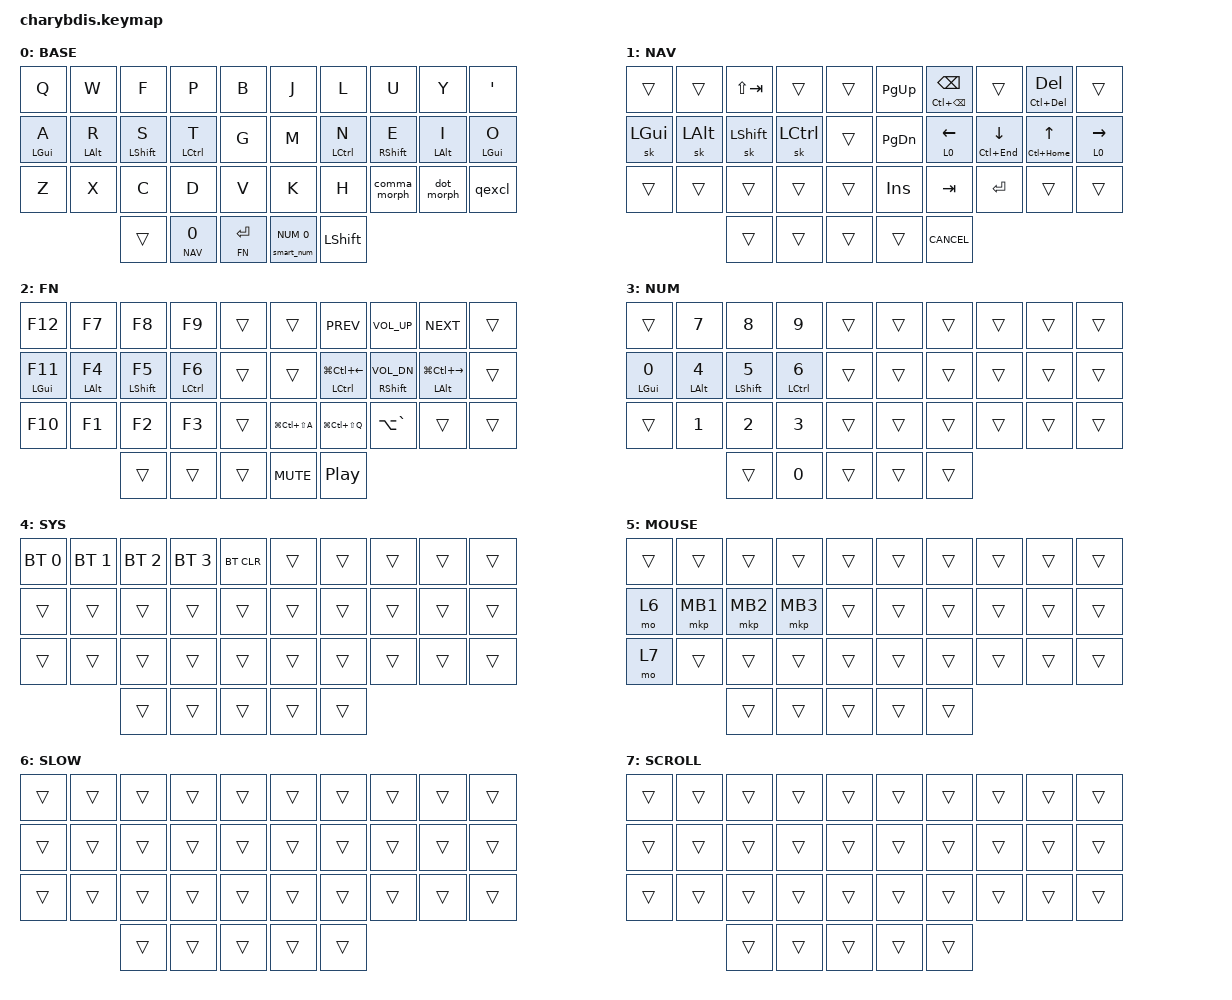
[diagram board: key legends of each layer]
#include <behaviors.dtsi>
#include <behaviors/num_word.dtsi>
#include <dt-bindings/zmk/bt.h>
#include <dt-bindings/zmk/keys.h>
#include <dt-bindings/zmk/mouse.h>
#include <dt-bindings/zmk/outputs.h>
#include <behaviors/mouse_keys.dtsi>
#include <dt-bindings/zmk/ext_power.h>

#include "zmk-helpers/helper.h"
#include "zmk-helpers/key-labels/36.h"                                      // Source key-labels.
#define KEYS_L LT0 LT1 LT2 LT3 LT4 LM0 LM1 LM2 LM3 LM4 LB0 LB1 LB2 LB3 LB4  // Left-hand keys.
#define KEYS_R RT0 RT1 RT2 RT3 RT4 RM0 RM1 RM2 RM3 RM4 RB0 RB1 RB2 RB3 RB4  // Right-hand keys.
#define THUMBS LH2 LH1 LH0 RH0 RH1 RH2                                      // Thumb keys.

#define DEF     0
#define NAV     1
#define FN      2
#define NUM     3
#define SYS     4

#define MOUSE   5
#define SLOW    6
#define SCROLL  7

#define XXX &none
#define ___ &trans

#define QUICK_TAP_MS 175

&sk {
  release-after-ms = <900>;
  quick-release;
};

&sl { // Allow sticky mods to chord across sticky layers.
  ignore-modifiers;
};

&lt {
  flavor = "balanced";
  tapping-term-ms = <200>;
  quick-tap-ms = <QUICK_TAP_MS>;
};


#define MAKE_HRM(NAME, HOLD, TAP, TRIGGER_POS)                                 \
  ZMK_HOLD_TAP(NAME, bindings = <HOLD>, <TAP>; flavor = "balanced";            \
               tapping-term-ms = <280>; quick-tap-ms = <QUICK_TAP_MS>;         \
               require-prior-idle-ms = <150>; hold-trigger-on-release;         \
               hold-trigger-key-positions = <TRIGGER_POS>;)

MAKE_HRM(hml, &kp, &kp, KEYS_R THUMBS) // Left-hand HRMs.
MAKE_HRM(hmr, &kp, &kp, KEYS_L THUMBS) // Right-hand HRMs.

// Hack: Make HRM combos tap-only (cf, ZMK issue #544).
#define ZMK_COMBO_8(NAME, TAP, POS, LAYERS, COMBO_MS, IDLE_MS, HOLD, SIDE)     \
  MAKE_HRM(hm_combo_##NAME, &kp, TAP, SIDE THUMBS)                             \
  ZMK_COMBO_6(NAME, &hm_combo_##NAME HOLD 0, POS, LAYERS, COMBO_MS, IDLE_MS)


ZMK_MOD_MORPH(mm_lbracket,
    bindings = <&kp LPRN>, <&kp LBKT>;
    mods = <(MOD_LSFT)>;
)

ZMK_MOD_MORPH(mm_rbracket,
    bindings = <&kp RPRN>, <&kp RBKT>;
    mods = <(MOD_LSFT)>;
)

ZMK_MOD_MORPH(mm_del_num,
    bindings = <&lt 2 BSPC>, <&kp DEL>;
    mods = <(MOD_RSFT)>;
)

#include "combos.dtsi" // Must be sourced after HRM-combo hack.


/* Nav cluster */

// Trigger tap-action on all interrupts.
#define MT_CORE                                                                \
  flavor = "tap-preferred";                                                    \
  tapping-term-ms = <220>;                                                     \
  quick-tap-ms = <220>;                                                        \
  hold-trigger-key-positions = <0>;

&mt { MT_CORE };

ZMK_HOLD_TAP(mt_home, bindings = <&masked_home>, <&kp>; MT_CORE)
ZMK_HOLD_TAP(mt_end, bindings = <&masked_end>, <&kp>; MT_CORE)

#define NAV_LEFT  &mt_home 0   LEFT  // Tap: left  | Long-tap: start of line.
#define NAV_RIGHT &mt_end 0    RIGHT // Tap: right | Long-tap: end   of line.
#define NAV_UP    &mt LC(HOME) UP    // Tap: up    | Long-tap: start of doc.
#define NAV_DOWN  &mt LC(END)  DOWN  // Tap: down  | Long-tap: end   of doc.
#define NAV_BSPC  &mt LC(BSPC) BSPC  // Tap: bspc  | Long-tap: delete word bwd.
#define NAV_DEL   &mt LC(DEL)  DEL   // Tap: del   | Long-tap: delete word fwd.

// Mask CTRL on left/right hold to avoid accidental jumps to start/end of doc.
#define MASK_MODS(NAME, MODS, BINDING)                                         \
  ZMK_MOD_MORPH(NAME, bindings = <BINDING>, <BINDING>; mods = <MODS>;)

MASK_MODS(masked_home, (MOD_LCTL), &kp HOME)
MASK_MODS(masked_end,  (MOD_LCTL), &kp END)

/* Magic-shift & auto-layers */

// Tap: repeat after alpha, else sticky-shift |
// Shift + tap/ double-tap: caps-word | Hold: shift.
// #define MAGIC_SHIFT &magic_shift LSHFT 0
// ZMK_HOLD_TAP(magic_shift, bindings = <&kp>, <&magic_shift_tap>;
//              flavor = "balanced"; tapping-term-ms = <200>;
//              quick-tap-ms = <QUICK_TAP_MS>;)
// ZMK_MOD_MORPH(magic_shift_tap, bindings = <&shift_repeat>, <&caps_word>;
//               mods = <(MOD_LSFT)>;)
// ZMK_ADAPTIVE_KEY(
//     shift_repeat, bindings = <&sk LSHFT>;
//     repeat {
//       trigger-keys = <A B C D E F G H I J K L M N O P Q R S T U V W X Y Z>;
//       bindings = <&key_repeat>;
//       max-prior-idle-ms = <1200>;
//       strict-modifiers;
//     };)
// &caps_word { // Mods deactivate caps-word, requires PR #1451. [TODO: rebase]
//   /delete-property/ ignore-modifiers;
// };

// Tap: num-word | double-tap: sticky num-layer | Hold: num-layer.
#define SMART_NUM &smart_num NUM 0
ZMK_HOLD_TAP(smart_num, bindings = <&mo>, <&num_dance>; flavor = "balanced";
             tapping-term-ms = <200>; quick-tap-ms = <QUICK_TAP_MS>;)
ZMK_TAP_DANCE(num_dance, bindings = <&num_word NUM>, <&sl NUM>;
              tapping-term-ms = <200>;)

// Smart-mouse, requires tri-state module.
// ZMK_TRI_STATE(
//     smart_mouse, bindings = <&tog MOUSE>, <&none>, <&tog MOUSE>;
//     ignored-key-positions =
//         <LT1 LT2 LH0 LH1 RT1 RT2 RT3 RM0 RM1 RM2 RM3 RM4 RB1 RB2 RB3 RH0 RH1>;
//     ignored-layers = <MOUSE NAV FN>;)

/* Custom behaviors */

// Alt+Tab swapper, requires tri-state module.
// ZMK_TRI_STATE(swapper, bindings = <&kt LALT>, <&kp TAB>, <&kt LALT>;
//               ignored-key-positions = <LT2 RT2 RM1 RM2 RM3>;)

// Define mod-morph with a *single* mod trigger for less repetition.
#define SIMPLE_MORPH(NAME, MOD, BINDING1, BINDING2)                            \
  ZMK_MOD_MORPH(NAME, mods = <(MOD_L##MOD | MOD_R##MOD)>;                      \
                bindings = <BINDING1>, <BINDING2>;)

// Tap: comma | Shift + tap: semicolon | Ctrl + shift + tap: <.
SIMPLE_MORPH(comma_morph, SFT, &kp COMMA, &comma_inner_morph)
SIMPLE_MORPH(comma_inner_morph, CTL, &kp SEMICOLON, &kp LESS_THAN)

// Tap: dot | Shift + tap: colon | Ctrl + shift + tap: >.
SIMPLE_MORPH(dot_morph, SFT, &kp DOT, &dot_inner_morph)
SIMPLE_MORPH(dot_inner_morph, CTL, &kp COLON, &kp GREATER_THAN)

// Tap: qmark | Shift + tap: excl.
SIMPLE_MORPH(qexcl, SFT, &kp QMARK, &kp EXCL)

// Tap: left/right parenthesis | Shft + tap: less-than/greater-than.
SIMPLE_MORPH(lpar_lt, SFT, &kp LPAR, &kp LT)
SIMPLE_MORPH(rpar_gt, SFT, &kp RPAR, &kp GT)

// Tap: space | Shift + tap: dot -> space -> sticky shift | Hold: nav layer.
ZMK_HOLD_TAP(lt_spc, bindings = <&mo>, <&spc_morph>; flavor = "balanced";
             tapping-term-ms = <200>; quick-tap-ms = <QUICK_TAP_MS>;)
SIMPLE_MORPH(spc_morph, SFT, &kp SPACE, &dot_spc)
ZMK_MACRO(dot_spc, bindings = <&kp DOT &kp SPACE &sk LSHFT>; wait-ms = <0>;
          tap-ms = <5>;)

// Tap: backspace | Lshft + tap: delete | Rshft + tap: shift-delete.
ZMK_MOD_MORPH(bs_del, bindings = <&kp BSPC>, <&kp DEL>;
              mods = <(MOD_LSFT|MOD_RSFT)>; keep-mods = <MOD_RSFT>;)

// Tap: copy | double-tap: cut.
ZMK_TAP_DANCE(copy_cut, bindings = <&kp LC(INS)>, <&kp LC(X)>;
              tapping-term-ms = <200>;)

// Sticky shift + leader.
// ZMK_MACRO(leader_sft, bindings = <&sk LSHFT &leader>;)

// Misc aliases. [TODO: clean up]
#define CANCEL    &kp K_CANCEL            // Cancel caps-word & auto-layers.
#define DSK_PREV  &hmr LCTRL LG(LC(LEFT)) // Previous desktop.
#define DSK_NEXT  &hmr LALT LG(LC(RIGHT)) // Next     desktop.
#define PIN_WIN   &kp LG(LC(LS(Q)))       // Pin window across desktops.
#define PIN_APP   &kp LG(LC(LS(A)))       // Pin application across desktops.
#define DSK_MGR   &kp LA(GRAVE)           // Desktop manager.
#define VOL_DOWN  &hmr RSHFT C_VOL_DN

/* Keymap */

ZMK_CONDITIONAL_LAYER(sys, FN NUM, SYS) // FN + NUM --> SYS.

/ {

    /* input config for mouse move mode */
    trackball_listener {
        compatible = "zmk,input-behavior-listener";
        device = <&trackball>;
        layers = <5>;
        evt-type = <INPUT_EV_REL>;
        x-input-code = <INPUT_REL_X>;
        y-input-code = <INPUT_REL_Y>;
        scale-multiplier = <4>;
        scale-divisor = <5>;
        // bindings = <&ib_toggle_layer 7>;
    };

    /* input config for snipe mode */
    trackball_snipe_listener {
        compatible = "zmk,input-behavior-listener";
        device = <&trackball>;
        layers = <6>;
        evt-type = <INPUT_EV_REL>;
        x-input-code = <INPUT_REL_X>;
        y-input-code = <INPUT_REL_Y>;
        scale-multiplier = <1>;
        scale-divisor = <6>;
    };

    /* input config for mouse scroll mode */
    trackball_scroll_listener {
        compatible = "zmk,input-behavior-listener";
        device = <&trackball>;
        layers = <7>;
        evt-type = <INPUT_EV_REL>;
        x-input-code = <INPUT_REL_MISC>;
        y-input-code = <INPUT_REL_WHEEL>;
        y-invert;
        bindings = <&ib_wheel_scaler 1 32>;
    };

    /* define a resolution down scaler only for INPUT_REL_WHEEL */
    ib_wheel_scaler: ib_wheel_scaler {
        compatible = "zmk,input-behavior-scaler";
        #binding-cells = <2>;
        evt-type = <INPUT_EV_REL>;
        input-code = <INPUT_REL_WHEEL>;
    };

    /* adjust cooldown waiting period for mouse key layer after activated */
    ib_toggle_layer: ib_toggle_layer {
        compatible = "zmk,input-behavior-tog-layer";
        #binding-cells = <1>;
        time-to-live-ms = <750>;
    };


    // behaviors {
    //     hm: homerow_mod {
    //         compatible = "zmk,behavior-hold-tap";
    //         #binding-cells = <2>;
    //         flavor = "tap-preferred";
    //         tapping-term-ms = <150>; // triggers the hold behavior when the tapping-term-ms has expired
    //         quick-tap-ms = <100>; // If you press a tapped hold-tap again within quick-tap-ms milliseconds of the first press, it will always trigger the tap behavior.
    //         //require-prior-idle-ms = <185>; // like quick-tap-ms however it will apply for any non-modifier key pressed before it
    //         bindings = <&kp>, <&kp>;  // hold, tap
    //     };
    // };

/*                KEY POSITIONS

  ╭────────────────────╮ ╭────────────────────╮
  │  0   1   2   3   4 │ │  5   6   7   8   9 │
  │ 10  11  12  13  14 │ │ 15  16  17  18  19 │
  │ 20  21  22  23  24 │ │ 25  26  27  28  29 │
  ╰───────╮ 30  31  32 │ │ 33  34 ╭───────────╯
          ╰────────────╯ ╰────────╯            */


    keymap {
        compatible = "zmk,keymap";

        BASE {
            bindings = <
  &kp Q       &kp W       &kp F        &kp P         &kp B          &kp J     &kp L        &kp U         &kp Y        &kp SQT 
  &hml LGUI A &hml LALT R &hml LSHFT S &hml LCTRL T  &kp G          &kp M     &hmr LCTRL N &hmr RSHFT E  &hmr LALT I  &hmr LGUI O
  &kp Z       &kp X       &kp C        &kp D         &kp V          &kp K     &kp H        &comma_morph  &dot_morph  &qexcl
                          ___          &lt_spc NAV 0 &lt FN RET     SMART_NUM &kp LSHFT
            >;
        };

        NAV {
            bindings = <
  ___           ___           &kp LS(TAB)   ___         ___           &kp PG_UP     NAV_BSPC      ___           NAV_DEL       ___
  &sk LGUI      &sk LALT      &sk LSHFT     &sk LCTRL   ___           &kp PG_DN     NAV_LEFT      NAV_DOWN      NAV_UP        NAV_RIGHT
  ___           ___           ___           ___         ___           &kp INS       &kp TAB       &kp RET       ___           ___ 
                              ___           ___         ___           ___           CANCEL
            >;
        };

        FN {
            bindings = <
  &kp F12       &kp F7        &kp F8        &kp F9        ___            ___           &kp C_PREV    &kp C_VOL_UP  &kp C_NEXT    ___
  &hml LGUI F11 &hml LALT F4  &hml LSHFT F5 &hml LCTRL F6 ___            ___           DSK_PREV      VOL_DOWN      DSK_NEXT      ___
  &kp F10       &kp F1        &kp F2        &kp F3        ___            PIN_APP       PIN_WIN       DSK_MGR       ___           ___
                              ___           ___           ___            &kp C_MUTE    &kp C_PP
            >;
        };

        NUM {
              bindings = <
  ___           &kp N7        &kp N8        &kp N9        ___            ___           ___           ___           ___           ___
  &hml LGUI N0  &hml LALT N4  &hml LSHFT N5 &hml LCTRL N6 ___            ___           ___           ___           ___           ___ 
  ___           &kp N1        &kp N2        &kp N3        ___            ___           ___           ___           ___           ___
                              ___           &kp N0        ___            ___           ___
              >;
        };

        SYS {
            bindings = <
  &bt BT_SEL 0  &bt BT_SEL 1  &bt BT_SEL 2  &bt BT_SEL 3  &bt BT_CLR  ___           ___           ___           ___           ___
  ___           ___           ___           ___           ___         ___           ___           ___           ___           ___
  ___           ___           ___           ___           ___         ___           ___           ___           ___           ___
                              ___           ___           ___         ___           ___
            >;
        };

        MOUSE {
            bindings = <
	&trans &trans &trans &trans &trans              &trans &trans &trans &trans &trans
	&mo 6 &mkp MB1 &mkp MB2 &mkp MB3   &trans      &trans &trans &trans &trans &trans
	&mo 7 &trans &trans &trans &trans              &trans &trans &trans &trans &trans
	                     &trans &trans &trans       &trans  &trans
            >;
        };

        SLOW {
            bindings = <
&trans    &trans    &trans    &trans    &trans    &trans    &trans    &trans    &trans    &trans   
&trans    &trans    &trans    &trans    &trans    &trans    &trans    &trans    &trans    &trans   
&trans    &trans    &trans    &trans    &trans    &trans    &trans    &trans    &trans    &trans  
                    &trans    &trans    &trans    &trans    &trans
            >;
        };

        SCROLL {
            bindings = <
&trans    &trans    &trans    &trans    &trans    &trans    &trans    &trans    &trans    &trans   
&trans    &trans    &trans    &trans    &trans    &trans    &trans    &trans    &trans    &trans   
&trans    &trans    &trans    &trans    &trans    &trans    &trans    &trans    &trans    &trans  
                    &trans    &trans    &trans    &trans    &trans
            >;
        };
    };
};
